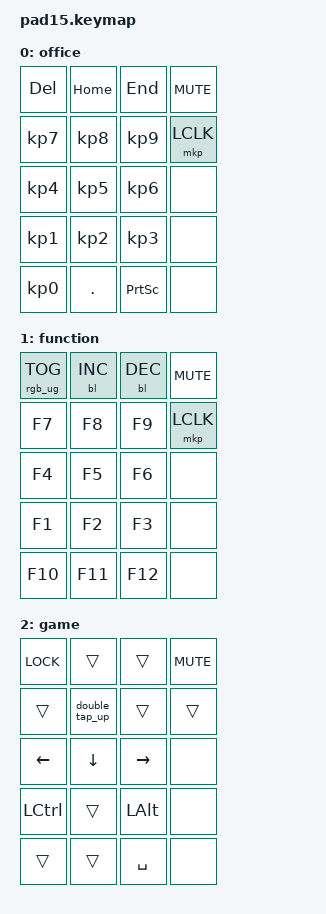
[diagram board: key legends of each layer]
/* 第一部分：引入必要的字典 */
#include <behaviors.dtsi>          // 核心行为
#include <dt-bindings/zmk/keys.h>  // 键盘按键字典 (如 A, B, RET)
#include <dt-bindings/zmk/bt.h>    // 蓝牙控制字典
#include <dt-bindings/zmk/ext_power.h> // 电源控制
#include <dt-bindings/zmk/mouse.h> // 鼠标控制字典
#include <dt-bindings/zmk/rgb.h>        // RGB 灯效控制
#include <dt-bindings/zmk/outputs.h>    // 输出切换 (USB/BLE)
#include <dt-bindings/zmk/pointing.h>   /* 鼠标滚轮模拟*/
#include <dt-bindings/zmk/backlight.h>  //背光控制


/* 第二部分：定义你的层级名称（方便阅读，不是必须的，但极度推荐） */
#define DEFAULT 0   // 办公模式
#define GAME    1   // 游戏模式
#define GLOBAL  2   // 你的全局设置层 (音量/灯光)

/ {
    combos {
        compatible = "zmk,combos";

        change_layer {
            bindings = <&to 0>;
            key-positions = <6 14>;
            layers = <2>;
        };

        change_layer1 {
            bindings = <&to 1>;
            key-positions = <6 14>;
            layers = <0>;
        };

        change_layer2 {
            bindings = <&to 2>;
            key-positions = <6 14>;
            layers = <1>;
        };
        BOOTLOADER {
            bindings = <&bootloader>;
            key-positions = <0 2 14 16>;
        };
        BTCLR {
            bindings = <&bt BT_CLR>;
            key-positions = <2 14 16>;
        };
    };

    behaviors {
        EC11_ROTATE: EC11_ROTATE {
            compatible = "zmk,behavior-sensor-rotate";
            #sensor-binding-cells = <0>;
            bindings = <&kp C_VOLUME_UP>, <&kp C_VOL_DN>;
        };

        double_tap_up: double_tap_up {
            compatible = "zmk,behavior-tap-dance";
            #binding-cells = <0>;
            bindings = <&kp UP>, <&kp LS(UP)>;
        };
    };

    keymap {
        compatible = "zmk,keymap";

        office {
            //sensor-bindings = <&EC11_ROTATE>;
            bindings = <
                &kp DEL     &kp HOME    &kp END      &kp C_MUTE
                &kp KP_NUMBER_7      &kp KP_NUMBER_8      &kp KP_NUMBER_9       &mkp LCLK
                &kp KP_NUMBER_4      &kp KP_NUMBER_5      &kp KP_NUMBER_6      &none
                &kp KP_NUMBER_1      &kp KP_NUMBER_2      &kp KP_NUMBER_3       &none
                &kp KP_NUMBER_0      &kp DOT     &kp PRINTSCREEN       &none
            >;
        };

        function {
            //sensor-bindings = <&EC11_ROTATE>;
            bindings = <
                &rgb_ug RGB_TOG  &bl BL_INC  &bl BL_DEC  &kp C_MUTE
                &kp F7      &kp F8      &kp F9      &mkp LCLK
                &kp F4      &kp F5      &kp F6      &none
                &kp F1      &kp F2      &kp F3      &none
                &kp F10     &kp F11     &kp F12     &none
            >;
        };

        game {
            //sensor-bindings = <&EC11_ROTATE>;
            bindings = <
                &kp K_LOCK  &trans        &trans    &kp C_MUTE
                &trans      &double_tap_up &trans   &trans
                &kp LEFT    &kp DOWN    &kp RIGHT   &none
                &kp LCTRL   &trans      &kp LALT    &none
                &trans      &trans      &kp SPACE   &none
            >;
        };
        /* === ZMK Studio 必须的保留层 === */
        extra1 {
            status = "reserved";
        };
        extra2 {
            status = "reserved";
        };
    };
};
